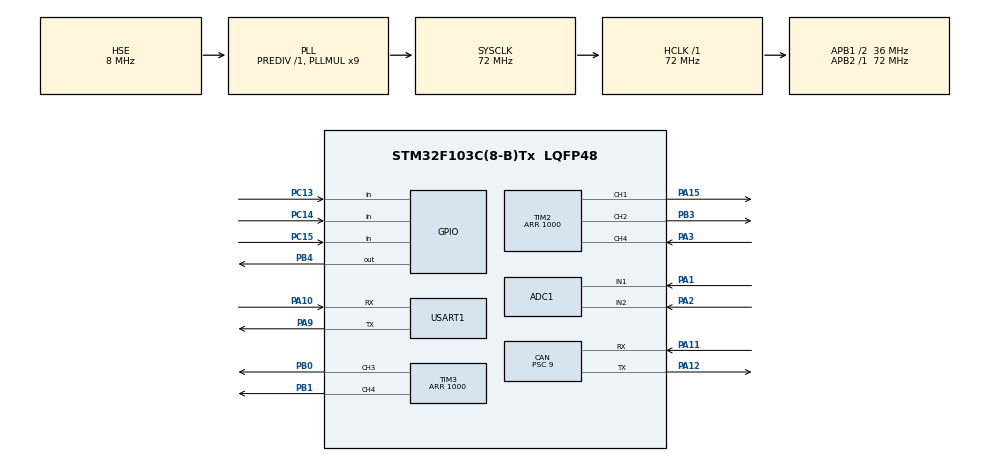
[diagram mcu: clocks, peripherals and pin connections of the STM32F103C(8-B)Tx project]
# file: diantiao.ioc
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ADC1.Channel-0\#ChannelRegularConversion=ADC_CHANNEL_1
ADC1.Channel-1\#ChannelRegularConversion=ADC_CHANNEL_2
ADC1.ContinuousConvMode=ENABLE
ADC1.DataAlign=ADC_DATAALIGN_RIGHT
ADC1.DiscontinuousConvMode=DISABLE
ADC1.EnableAnalogWatchDog=false
ADC1.EnableRegularConversion=ENABLE
ADC1.ExternalTrigConv=ADC_SOFTWARE_START
ADC1.InjNumberOfConversion=0
ADC1.NbrOfConversion=2
ADC1.NbrOfConversionFlag=1
ADC1.Rank-0\#ChannelRegularConversion=1
ADC1.Rank-1\#ChannelRegularConversion=2
ADC1.SamplingTime-0\#ChannelRegularConversion=ADC_SAMPLETIME_55CYCLES_5
ADC1.SamplingTime-1\#ChannelRegularConversion=ADC_SAMPLETIME_55CYCLES_5
ADC1.ScanConvMode=ADC_SCAN_ENABLE
ADC1.master=1
CAN.BS1=CAN_BS1_8TQ
CAN.BS2=CAN_BS2_7TQ
CAN.CalculateTimeBit=4000
CAN.CalculateTimeQuantum=250.0
CAN.Mode=CAN_MODE_NORMAL
CAN.Prescaler=9
Dma.ADC1.0.Direction=DMA_PERIPH_TO_MEMORY
Dma.ADC1.0.Instance=DMA1_Channel1
Dma.ADC1.0.MemDataAlignment=DMA_MDATAALIGN_WORD
Dma.ADC1.0.MemInc=DMA_MINC_ENABLE
Dma.ADC1.0.Mode=DMA_CIRCULAR
Dma.ADC1.0.PeriphDataAlignment=DMA_PDATAALIGN_WORD
Dma.ADC1.0.PeriphInc=DMA_PINC_DISABLE
Dma.ADC1.0.Priority=DMA_PRIORITY_LOW
Dma.Request0=ADC1
Dma.Request1=USART1_RX
Dma.Request2=USART1_TX
Dma.USART1_RX.1.Direction=DMA_PERIPH_TO_MEMORY
Dma.USART1_RX.1.Instance=DMA1_Channel5
Dma.USART1_RX.1.MemDataAlignment=DMA_MDATAALIGN_BYTE
Dma.USART1_RX.1.MemInc=DMA_MINC_ENABLE
Dma.USART1_RX.1.Mode=DMA_CIRCULAR
Dma.USART1_RX.1.PeriphDataAlignment=DMA_PDATAALIGN_BYTE
Dma.USART1_RX.1.PeriphInc=DMA_PINC_DISABLE
Dma.USART1_RX.1.Priority=DMA_PRIORITY_LOW
Dma.USART1_TX.2.Direction=DMA_MEMORY_TO_PERIPH
Dma.USART1_TX.2.Instance=DMA1_Channel4
Dma.USART1_TX.2.MemDataAlignment=DMA_MDATAALIGN_BYTE
Dma.USART1_TX.2.MemInc=DMA_MINC_ENABLE
Dma.USART1_TX.2.Mode=DMA_NORMAL
Dma.USART1_TX.2.PeriphDataAlignment=DMA_PDATAALIGN_BYTE
Dma.USART1_TX.2.PeriphInc=DMA_PINC_DISABLE
Dma.USART1_TX.2.Priority=DMA_PRIORITY_LOW
Mcu.Family=STM32F1
Mcu.Name=STM32F103C(8-B)Tx
Mcu.Package=LQFP48
NVIC.ADC1_2_IRQn=true\:2\:0\:true\:false\:true\:true
NVIC.CAN1_RX1_IRQn=true\:0\:0\:false\:false\:true\:true
NVIC.DMA1_Channel1_IRQn=true\:0\:0\:false\:false\:true\:false
NVIC.DMA1_Channel4_IRQn=true\:0\:0\:false\:false\:true\:false
NVIC.DMA1_Channel5_IRQn=true\:0\:0\:false\:false\:true\:false
NVIC.PriorityGroup=NVIC_PRIORITYGROUP_4
NVIC.TIM1_UP_IRQn=true\:1\:0\:true\:false\:true\:true
NVIC.TIM2_IRQn=true\:0\:0\:false\:false\:true\:true
NVIC.USART1_IRQn=true\:0\:0\:false\:false\:true\:true
PA1.Signal=ADCx_IN1
PA10.GPIO_PuPd=GPIO_PULLUP
PA10.Mode=Asynchronous
PA10.Signal=USART1_RX
PA11.Mode=Master
PA11.Signal=CAN_RX
PA12.Mode=Master
PA12.Signal=CAN_TX
PA13.Mode=Serial_Wire
PA13.Signal=SYS_JTMS-SWDIO
PA14.Mode=Serial_Wire
PA14.Signal=SYS_JTCK-SWCLK
PA15.Signal=S_TIM2_CH1_ETR
PA2.Signal=ADCx_IN2
PA3.Signal=S_TIM2_CH4
PA9.Mode=Asynchronous
PA9.Signal=USART1_TX
PB0.Signal=S_TIM3_CH3
PB1.Signal=S_TIM3_CH4
PB10.Signal=I2C2_SCL
PB11.Signal=I2C2_SDA
PB3.Signal=S_TIM2_CH2
PB4.GPIO_Speed=GPIO_SPEED_FREQ_HIGH
PB4.PinState=GPIO_PIN_SET
PB4.Signal=GPIO_Output
PB6.Signal=I2C1_SCL
PB7.Signal=I2C1_SDA
PC13-TAMPER-RTC.GPIO_PuPd=GPIO_PULLUP
PC13-TAMPER-RTC.Signal=GPIO_Input
PC14-OSC32_IN.GPIO_PuPd=GPIO_PULLUP
PC14-OSC32_IN.Signal=GPIO_Input
PC15-OSC32_OUT.GPIO_PuPd=GPIO_PULLUP
PC15-OSC32_OUT.Signal=GPIO_Input
PD0-OSC_IN.Mode=HSE-External-Oscillator
PD0-OSC_IN.Signal=RCC_OSC_IN
PD1-OSC_OUT.Mode=HSE-External-Oscillator
PD1-OSC_OUT.Signal=RCC_OSC_OUT
ProjectManager.HeapSize=0x200
ProjectManager.StackSize=0x400
ProjectManager.TargetToolchain=MDK-ARM V5
RCC.ADCPresc=RCC_ADCPCLK2_DIV6
RCC.AHBFreq_Value=72000000
RCC.APB1CLKDivider=RCC_HCLK_DIV2
RCC.APB1Freq_Value=36000000
RCC.APB1TimFreq_Value=72000000
RCC.APB2Freq_Value=72000000
RCC.APB2TimFreq_Value=72000000
RCC.HCLKFreq_Value=72000000
RCC.PLLMUL=RCC_PLL_MUL9
RCC.PLLSourceVirtual=RCC_PLLSOURCE_HSE
RCC.SYSCLKFreq_VALUE=72000000
RCC.SYSCLKSource=RCC_SYSCLKSOURCE_PLLCLK
RCC.USBFreq_Value=72000000
SH.ADCx_IN1.0=ADC1_IN1,IN1
SH.ADCx_IN2.0=ADC1_IN2,IN2
SH.S_TIM2_CH1_ETR.0=TIM2_CH1,PWM Generation1 CH1
SH.S_TIM2_CH2.0=TIM2_CH2,PWM Generation2 CH2
SH.S_TIM2_CH4.0=TIM2_CH4,Input_Capture4_from_TI4
SH.S_TIM3_CH3.0=TIM3_CH3,PWM Generation3 CH3
SH.S_TIM3_CH4.0=TIM3_CH4,PWM Generation4 CH4
TIM1.Period=1000-1
TIM1.Prescaler=72-1
TIM2.Channel-Input_Capture4_from_TI4=TIM_CHANNEL_4
TIM2.Channel-PWM\ Generation1\ CH1=TIM_CHANNEL_1
TIM2.Channel-PWM\ Generation2\ CH2=TIM_CHANNEL_2
TIM2.ICFilter_CH4=2
TIM2.ICPrescaler-Input_Capture4_from_TI4=TIM_ICPSC_DIV4
TIM2.Period=1000
TIM3.Channel-PWM\ Generation3\ CH3=TIM_CHANNEL_3
TIM3.Channel-PWM\ Generation4\ CH4=TIM_CHANNEL_4
TIM3.Period=1000
USART1.VirtualMode=VM_ASYNC
VP_TIM1_VS_ClockSourceINT.Mode=Internal
VP_TIM2_VS_ClockSourceINT.Mode=Internal
VP_TIM3_VS_ClockSourceINT.Mode=Internal
board=custom

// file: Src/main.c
/**
  ******************************************************************************
  * @file           : main.c
  * @brief          : Main program body
  ******************************************************************************
  ** This notice applies to any and all portions of this file
  * that are not between comment pairs USER CODE BEGIN and
  * USER CODE END. Other portions of this file, whether
  * inserted by the user or by software development tools
  * are owned by their respective copyright owners.
  *
  * COPYRIGHT(c) 2019 STMicroelectronics
  *
  * Redistribution and use in source and binary forms, with or without modification,
  * are permitted provided that the following conditions are met:
  *   1. Redistributions of source code must retain the above copyright notice,
  *      this list of conditions and the following disclaimer.
  *   2. Redistributions in binary form must reproduce the above copyright notice,
  *      this list of conditions and the following disclaimer in the documentation
  *      and/or other materials provided with the distribution.
  *   3. Neither the name of STMicroelectronics nor the names of its contributors
  *      may be used to endorse or promote products derived from this software
  *      without specific prior written permission.
  *
  * THIS SOFTWARE IS PROVIDED BY THE COPYRIGHT HOLDERS AND CONTRIBUTORS "AS IS"
  * AND ANY EXPRESS OR IMPLIED WARRANTIES, INCLUDING, BUT NOT LIMITED TO, THE
  * IMPLIED WARRANTIES OF MERCHANTABILITY AND FITNESS FOR A PARTICULAR PURPOSE ARE
  * DISCLAIMED. IN NO EVENT SHALL THE COPYRIGHT HOLDER OR CONTRIBUTORS BE LIABLE
  * FOR ANY DIRECT, INDIRECT, INCIDENTAL, SPECIAL, EXEMPLARY, OR CONSEQUENTIAL
  * DAMAGES (INCLUDING, BUT NOT LIMITED TO, PROCUREMENT OF SUBSTITUTE GOODS OR
  * SERVICES; LOSS OF USE, DATA, OR PROFITS; OR BUSINESS INTERRUPTION) HOWEVER
  * CAUSED AND ON ANY THEORY OF LIABILITY, WHETHER IN CONTRACT, STRICT LIABILITY,
  * OR TORT (INCLUDING NEGLIGENCE OR OTHERWISE) ARISING IN ANY WAY OUT OF THE USE
  * OF THIS SOFTWARE, EVEN IF ADVISED OF THE POSSIBILITY OF SUCH DAMAGE.
  *
  ******************************************************************************
  */
#include "main.h"
#include "stm32f1xx_hal.h"
#include "adc.h"
#include "can.h"
#include "dma.h"
#include "tim.h"
#include "usart.h"
#include "gpio.h"

/* USER CODE BEGIN Includes */
#include "delay.h"
#include "sys.h"
#include "control_can.h"
#include "mt6813.h"
#include "mcp4725.h"

/* USER CODE END Includes */

/* USER CODE BEGIN PV */

/* Private variables ---------------------------------------------------------*/
u8 rx[1];
extern uint8_t CAN_RX_Flag;
/* USER CODE END PV */

void SystemClock_Config(void);

/* USER CODE BEGIN PFP */
/* Private function prototypes -----------------------------------------------*/

/* USER CODE END PFP */

/* USER CODE BEGIN 0 */
float val = 0;
/* USER CODE END 0 */

int main(void)
{

  /* MCU Configuration----------------------------------------------------------*/

  /* Reset of all peripherals, Initializes the Flash interface and the Systick. */
  HAL_Init();

  /* Configure the system clock */
  SystemClock_Config();

  /* Initialize all configured peripherals */
  MX_GPIO_Init();
  MX_DMA_Init();
  MX_USART1_UART_Init();
  MX_CAN_Init();
  MX_ADC1_Init();
  MX_TIM3_Init();
  MX_TIM2_Init();
  MX_TIM1_Init();
  /* USER CODE BEGIN 2 */
	delay_init(72);
	CAN_Config_Filter();
	HAL_ADCEx_Calibration_Start(&hadc1);   	//ADC??��??
	HAL_TIM_PWM_Start(&htim2, TIM_CHANNEL_1);
	HAL_TIM_PWM_Start(&htim2, TIM_CHANNEL_2);
	HAL_TIM_PWM_Start(&htim3, TIM_CHANNEL_3);
	HAL_TIM_PWM_Start(&htim3, TIM_CHANNEL_4);	//??��PWM

	HAL_TIM_Base_Start_IT(&htim1);				//??????��? 1ms
	HAL_UART_Receive_IT(&huart1, rx, 1);	//????????��?
	HAL_CAN_Receive_IT(&hcan,CAN_FIFO1);	//CAN?????��?
	HAL_ADC_Start_DMA(&hadc1, ADC_RX, 2);

	HAL_TIM_IC_Start_IT(&htim2,TIM_CHANNEL_4);

	MT6813_init();
	MCP4725_Init();
	delay_ms(2000);

	MCP4725_WriteBreakData_Voltage(0);
	delay_ms(1000);
	MCP4725_WriteBreakData_Voltage(4990);
	MCP4725_WriteVelData_Voltage(4990);
  /* USER CODE END 2 */

  /* Infinite loop */
  /* USER CODE BEGIN WHILE */
  while (1)
  {
//		CAN_TX[0]+=1;
//		CAN_SendMessage(0,CAN_TX,sizeof(CAN_TX));
		val = ADC_RX[0]*3.3/4096;
//		val = ADC_RX[1]*3.3/4096;
//		if(CAN_RX_Flag) printf("%d", CAN_RX[0]);
//

//		HAL_GPIO_TogglePin(GPIOA, GPIO_PIN_3);
//		HAL_GPIO_TogglePin(GPIOB, GPIO_PIN_4);
//		if(HAL_GPIO_ReadPin(GPIOC, GPIO_PIN_13))
//		{
//			if(HAL_GPIO_ReadPin(GPIOC, GPIO_PIN_14))
//				if(HAL_GPIO_ReadPin(GPIOC, GPIO_PIN_15))
//				{
//					printf("ok");
//				}
//		}

//		delay_ms(10000);
//		MCP4725_WriteBreakData_Voltage(0);
//		val=MT6813_Get_Angle();
//		MCP4725_ReadData();
//		val = HAL_TIM_ReadCapturedValue(&htim2,TIM_CHANNEL_4);
//		delay_ms(100);
  /* USER CODE END WHILE */

  }

}

void SystemClock_Config(void)
{

  RCC_OscInitTypeDef RCC_OscInitStruct;
  RCC_ClkInitTypeDef RCC_ClkInitStruct;
  RCC_PeriphCLKInitTypeDef PeriphClkInit;

    /**Initializes the CPU, AHB and APB busses clocks
    */
  RCC_OscInitStruct.OscillatorType = RCC_OSCILLATORTYPE_HSE;
  RCC_OscInitStruct.HSEState = RCC_HSE_ON;
  RCC_OscInitStruct.HSEPredivValue = RCC_HSE_PREDIV_DIV1;
  RCC_OscInitStruct.HSIState = RCC_HSI_ON;
  RCC_OscInitStruct.PLL.PLLState = RCC_PLL_ON;
  RCC_OscInitStruct.PLL.PLLSource = RCC_PLLSOURCE_HSE;
  RCC_OscInitStruct.PLL.PLLMUL = RCC_PLL_MUL9;
  if (HAL_RCC_OscConfig(&RCC_OscInitStruct) != HAL_OK)
  {
    _Error_Handler(__FILE__, __LINE__);
  }

    /**Initializes the CPU, AHB and APB busses clocks
    */
  RCC_ClkInitStruct.ClockType = RCC_CLOCKTYPE_HCLK|RCC_CLOCKTYPE_SYSCLK
                              |RCC_CLOCKTYPE_PCLK1|RCC_CLOCKTYPE_PCLK2;
  RCC_ClkInitStruct.SYSCLKSource = RCC_SYSCLKSOURCE_PLLCLK;
  RCC_ClkInitStruct.AHBCLKDivider = RCC_SYSCLK_DIV1;
  RCC_ClkInitStruct.APB1CLKDivider = RCC_HCLK_DIV2;
  RCC_ClkInitStruct.APB2CLKDivider = RCC_HCLK_DIV1;

  if (HAL_RCC_ClockConfig(&RCC_ClkInitStruct, FLASH_LATENCY_2) != HAL_OK)
  {
    _Error_Handler(__FILE__, __LINE__);
  }

  PeriphClkInit.PeriphClockSelection = RCC_PERIPHCLK_ADC;
  PeriphClkInit.AdcClockSelection = RCC_ADCPCLK2_DIV6;
  if (HAL_RCCEx_PeriphCLKConfig(&PeriphClkInit) != HAL_OK)
  {
    _Error_Handler(__FILE__, __LINE__);
  }

    /**Configure the Systick interrupt time
    */
  HAL_SYSTICK_Config(HAL_RCC_GetHCLKFreq()/1000);

    /**Configure the Systick
    */
  HAL_SYSTICK_CLKSourceConfig(SYSTICK_CLKSOURCE_HCLK);

  /* SysTick_IRQn interrupt configuration */
  HAL_NVIC_SetPriority(SysTick_IRQn, 0, 0);
}

void _Error_Handler(char *file, int line)
{
  while(1)
  {
  }
}

/************************ (C) COPYRIGHT STMicroelectronics *****END OF FILE****/
